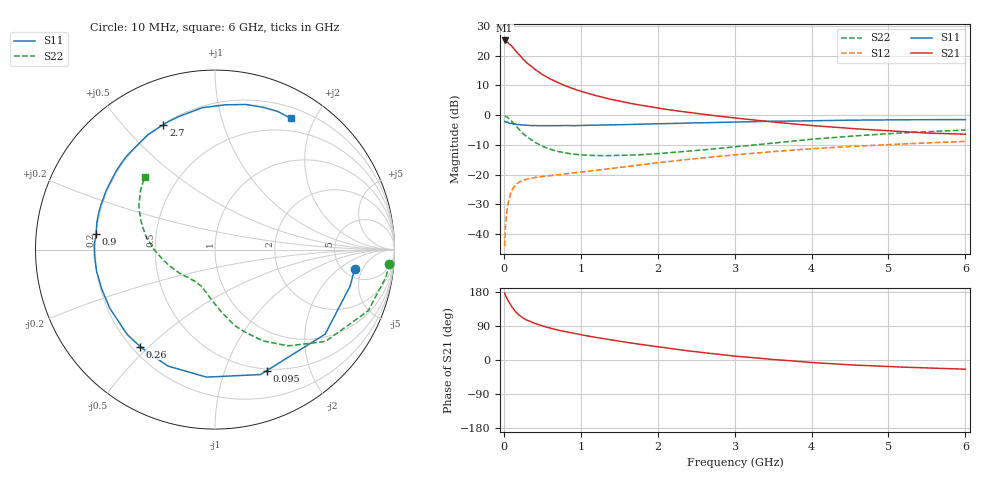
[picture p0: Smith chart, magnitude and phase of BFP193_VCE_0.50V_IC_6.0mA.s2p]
! Infineon Technologies  Discrete & RF Semiconductors
! BFP193
! VCE = 0.50V,  IC =  6.0 mA
! Common Emitter S-Parameters:  Jan 2016
# GHz  S  MA  R  50
!  f  S11  S21  S12  S22
! GHz  MAG  ANG  MAG  ANG  MAG  ANG  MAG  ANG
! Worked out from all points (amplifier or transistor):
!   210 points, 10 MHz to 6 GHz, reference 50 ohm
!   highest |S21| = 25.1 dB at 10 MHz (marker M1)
!   |S21| within 3 dB of that: start of sweep to 137.1 MHz
!   unconditionally stable (mu >= 1): 1.093 GHz to end of sweep
!   at 185 MHz: K = 0.25, MSG = 21.7 dB, |S12| = -22.7 dB
!   at 1.52 GHz: K = 1.14, MAG = 8.9 dB, |S12| = -17.5 dB
!   at 6 GHz: K = 1.02, MAG = 0.3 dB, |S12| = -8.8 dB
!   S11 on the Smith chart (normalised r, x): 10 MHz: 6.20, -3.58; 95 MHz: 0.48, -1.40; 260 MHz: 0.23, -0.47; 900 MHz: 0.20, +0.06; 2.7 GHz: 0.20, +0.65; 6 GHz: 0.33, +1.68
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0.01  0.7851 -8.1  18.07 176.5  0.0063 86.6  0.9744 -4.6
0.02  0.7797 -15.2  17.52 170.9  0.0126 82.7  0.9651 -9.0
0.05  0.7735 -37.5  16.79 158.7  0.0307 71.3  0.9196 -21.7
0.095  0.7332 -66.8  14.85 143.1  0.0513 57.9  0.8088 -37.7
0.1  0.7409 -70.0  14.72 141.1  0.0537 57.1  0.8009 -39.7
0.15  0.7121 -93.8  12.22 127.6  0.0678 46.9  0.6744 -52.7
0.2  0.6998 -111.9  10.38 118.1  0.0758 40.0  0.5741 -62.3
0.26  0.6826 -127.7  8.533 109.4  0.0816 35.2  0.48 -70.9
0.3  0.6806 -135.9  7.592 105.0  0.0845 33.1  0.4355 -75.6
0.4  0.6711 -150.9  5.955 96.6  0.0899 30.1  0.3534 -83.7
0.5  0.6684 -161.0  4.84 89.9  0.0933 29.0  0.3013 -90.5
0.6  0.6709 -169.7  4.091 84.1  0.0963 28.9  0.2685 -96.2
0.7  0.6719 -176.5  3.554 79.0  0.0997 29.2  0.2469 -100.9
0.9  0.6681 172.7  2.787 70.7  0.1073 30.3  0.222 -108.3
1.02  0.6754 166.6  2.488 66.1  0.1115 31.2  0.2152 -112.5
1.4  0.69 151.5  1.84 53.0  0.1275 33.3  0.2102 -124.6
2.02  0.7187 131.3  1.311 34.5  0.1601 34.7  0.2273 -142.2
2.7  0.753 112.4  0.998 17.1  0.1984 32.1  0.2695 -160.9
3.1  0.7715 103.1  0.873 8.6  0.2214 29.4  0.3025 -171.2
4.1  0.8111 84.3  0.657 -7.8  0.2782 20.4  0.4039 166.3
5.1  0.8376 70.4  0.539 -18.2  0.3254 10.2  0.4967 148.3
6  0.8448 60.1  0.48 -24.3  0.3634 0.6  0.5644 134.0
